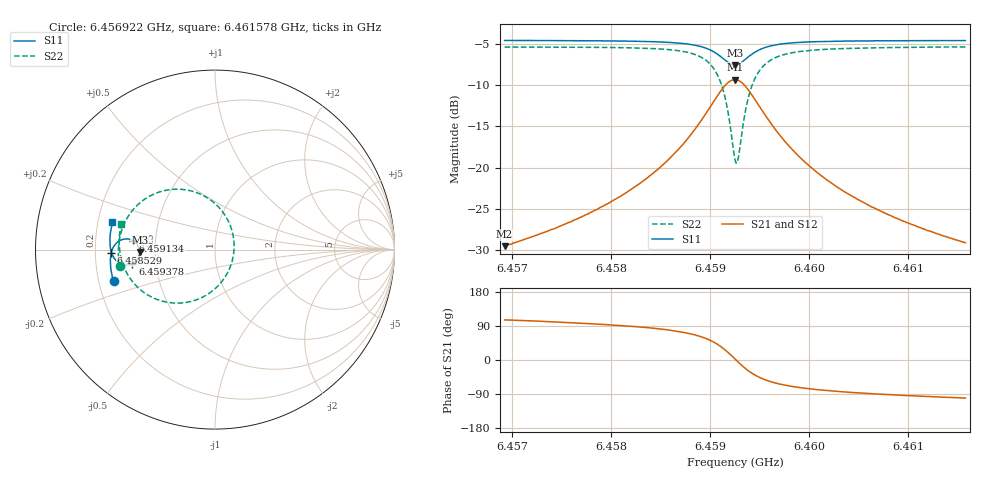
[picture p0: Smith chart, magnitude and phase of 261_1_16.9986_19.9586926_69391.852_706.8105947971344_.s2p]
#  HZ  S  RI  R  50.00
! Rohde & Schwarz Vector Network Analyzer
! Rohde-Schwarz,ZNB20-2Port,1311601062101988,3.16
! Created: UTC 3/20/2024, 11:03:47 PM
! freq[Hz]  re:S11  im:S11  re:S21  im:S21  re:S12  im:S12  re:S22  im:S22
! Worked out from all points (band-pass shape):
!   401 points, 6.456922 GHz to 6.461578 GHz, reference 50 ohm
!   highest |S21| = -9.30 dB at 6.45925 GHz (marker M1); lowest = -29.6 dB at 6.456922 GHz (marker M2)
!   |S21| within 3 dB of the highest: 6.459017 GHz to 6.459483 GHz (465.6 kHz wide, 0.00721 % of centre)
!   lowest |S11| = -7.5 dB at 6.45925 GHz (marker M3), VSWR 2.45, Z = 20.4 - j0.624 ohm
!   |S11| at or under -10 dB: nowhere
!   |S22| runs from -19.5 to -5.3 dB; largest |S21 - S12| = 0.013
!   S11 on the Smith chart (normalised r, x): 6.456922 GHz: 0.26, -0.14; 6.458529 GHz: 0.27, -0.01; 6.459134 GHz: 0.37, +0.05; 6.459378 GHz: 0.37, -0.07; 6.461578 GHz: 0.26, +0.12
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6.4569222e9  -0.565 -0.177  -0.00901 0.032  -0.00755 0.0321  -0.5316 -0.094
6.4577021e9  -0.5798 -0.1092  -0.00592 0.0499  -0.00352 0.0494  -0.5384 -0.00329
6.4581328e9  -0.5831 -0.0664  -0.000289 0.0693  0.00299 0.0679  -0.5311 0.0644
6.458482e9  -0.5796 -0.0249  0.0132 0.098  0.0172 0.0953  -0.5065 0.1426
6.4585286e9  -0.5783 -0.0186  0.0167 0.1035  0.0207 0.1005  -0.5004 0.1557
6.4587381e9  -0.5663 0.0133  0.0423 0.135  0.0466 0.1303  -0.4521 0.2274
6.4588895e9  -0.5453 0.0397  0.0846 0.1654  0.0881 0.159  -0.3741 0.2921
6.4590408e9  -0.4997 0.0596  0.176 0.1848  0.1769 0.1775  -0.2071 0.3367
6.4591339e9  -0.4552 0.0496  0.2656 0.1542  0.2658 0.1482  -0.0413 0.2876
6.4591805e9  -0.4343 0.0312  0.309 0.1117  0.3103 0.1063  0.0414 0.2118
6.4592503e9  -0.4194 -0.0126  0.3423 0.0155  0.3458 0.00867  0.1064 0.0336
6.459262e9  -0.4199 -0.0206  0.3422 -0.00214  0.3459 -0.00956  0.1062 9.35e-05
6.4592852e9  -0.4234 -0.036  0.3368 -0.0364  0.3406 -0.0456  0.0954 -0.0651
6.4593318e9  -0.4388 -0.0618  0.3087 -0.0959  0.3107 -0.1077  0.0385 -0.1777
6.4593784e9  -0.4605 -0.0779  0.2671 -0.1368  0.2663 -0.1498  -0.0456 -0.2519
6.4594715e9  -0.5034 -0.0846  0.1831 -0.1678  0.1771 -0.1793  -0.2129 -0.2983
6.4596228e9  -0.547 -0.0642  0.0961 -0.1546  0.0877 -0.1608  -0.3792 -0.2499
6.4597858e9  -0.5684 -0.0366  0.0515 -0.1273  0.044 -0.13  -0.4594 -0.1786
6.4600302e9  -0.581 -0.00105  0.0225 -0.0962  0.0168 -0.0967  -0.5074 -0.0967
6.4604027e9  -0.5856 0.0426  0.00591 -0.0683  0.00184 -0.0679  -0.5298 -0.0135
6.4608102e9  -0.5838 0.0832  -0.00121 -0.0513  -0.00398 -0.0505  -0.5338 0.0506
6.4615784e9  -0.5715 0.151  -0.00644 -0.0344  -0.00811 -0.0333  -0.5225 0.141
